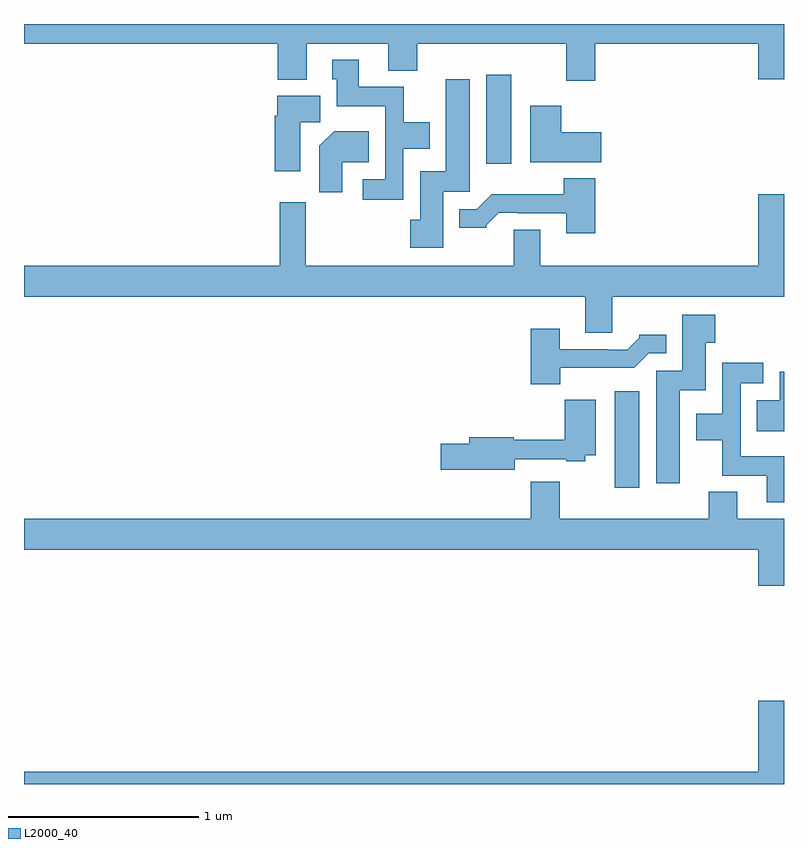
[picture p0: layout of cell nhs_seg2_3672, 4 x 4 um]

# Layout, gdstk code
import gdstk
lib = gdstk.Library(unit=1e-6, precision=1e-09)
def R(c, l, rs):  # rectangles x0, y0, x1, y1
    for r in rs: c.add(gdstk.rectangle(r[:2], r[2:], *l))
def P(c, l, *ps):  # polygons
    for p in ps: c.add(gdstk.Polygon(p, *l))
L2000_40 = (2000, 40)

nhs_seg2_3672 = lib.new_cell('nhs_seg2_3672')
R(nhs_seg2_3672, L2000_40, [(308.108,585.36,308.239,585.868), (307.433,587.064,307.564,587.533)])
P(nhs_seg2_3672, L2000_40, [(308.006,587.696),(308.864,587.696),(308.864,587.508),(309,587.508),(309,587.8),(305,587.8),(305,587.696),(306.335,587.696),(306.335,587.507),(306.487,587.507),(306.487,587.696),(306.917,587.696),(306.917,587.555),(307.07,587.555),(307.07,587.696),(307.853,587.696),(307.853,587.502),(308.006,587.502)],
  [(306.996,587.144),(307.135,587.144),(307.135,587.284),(306.999,587.284),(306.999,587.47),(306.763,587.47),(306.763,587.611),(306.623,587.611),(306.623,587.508),(306.647,587.508),(306.647,587.366),(306.9,587.366),(306.9,586.983),(306.783,586.983),(306.783,586.875),(306.996,586.875)],
  [(307.207,586.917),(307.345,586.917),(307.345,587.509),(307.22,587.509),(307.22,587.026),(307.085,587.026),(307.085,586.77),(307.034,586.77),(307.034,586.622),(307.207,586.622)],
  [(306.454,587.284),(306.559,587.284),(306.559,587.422),(306.332,587.422),(306.332,587.318),(306.32,587.318),(306.32,587.025),(306.454,587.025)],
  [(308.038,587.23),(307.828,587.23),(307.828,587.371),(307.664,587.371),(307.664,587.072),(308.038,587.072)],
  [(306.676,587.072),(306.815,587.072),(306.815,587.236),(306.632,587.236),(306.554,587.158),(306.554,586.914),(306.676,586.914)],
  [(308.006,586.987),(307.841,586.987),(307.841,586.903),(307.462,586.903),(307.383,586.824),(307.292,586.824),(307.292,586.727),(307.434,586.727),(307.434,586.742),(307.498,586.806),(307.597,586.806),(307.597,586.803),(307.853,586.803),(307.853,586.698),(308.006,586.698)],
  [(308.095,586.364),(309,586.364),(309,586.903),(308.864,586.903),(308.864,586.528),(307.717,586.528),(307.717,586.718),(307.577,586.718),(307.577,586.528),(306.482,586.528),(306.482,586.861),(306.346,586.861),(306.346,586.528),(305,586.528),(305,586.364),(307.955,586.364),(307.955,586.174),(308.095,586.174)],
  [(308.452,585.872),(308.587,585.872),(308.587,586.123),(308.639,586.123),(308.639,586.27),(308.465,586.27),(308.465,585.975),(308.327,585.975),(308.327,585.384),(308.452,585.384)],
  [(307.822,585.992),(308.213,585.992),(308.289,586.068),(308.38,586.068),(308.38,586.165),(308.238,586.165),(308.238,586.15),(308.174,586.086),(308.075,586.086),(308.075,586.089),(307.819,586.089),(307.819,586.195),(307.667,586.195),(307.667,585.905),(307.822,585.905)],
  [(309,585.526),(308.772,585.526),(308.772,585.909),(308.89,585.909),(308.89,586.018),(308.676,586.018),(308.676,585.748),(308.537,585.748),(308.537,585.608),(308.674,585.608),(308.674,585.422),(308.909,585.422),(308.909,585.282),(309,585.282)],
  [(309,585.97),(308.978,585.97),(308.978,585.82),(308.857,585.82),(308.857,585.656),(309,585.656)],
  [(307.582,585.51),(307.853,585.51),(307.853,585.498),(307.953,585.498),(307.953,585.53),(308.008,585.53),(308.008,585.823),(307.846,585.823),(307.846,585.611),(307.578,585.611),(307.578,585.626),(307.343,585.626),(307.343,585.59),(307.194,585.59),(307.194,585.455),(307.582,585.455)],
  [(309,585.196),(308.755,585.196),(308.755,585.337),(308.603,585.337),(308.603,585.196),(307.819,585.196),(307.819,585.391),(307.667,585.391),(307.667,585.196),(305,585.196),(305,585.032),(308.864,585.032),(308.864,584.844),(309,584.844)],
  [(309,584.239),(308.864,584.239),(308.864,583.864),(305,583.864),(305,583.8),(309,583.8)])

lib.write_gds('nhs_seg2_3672.gds')
